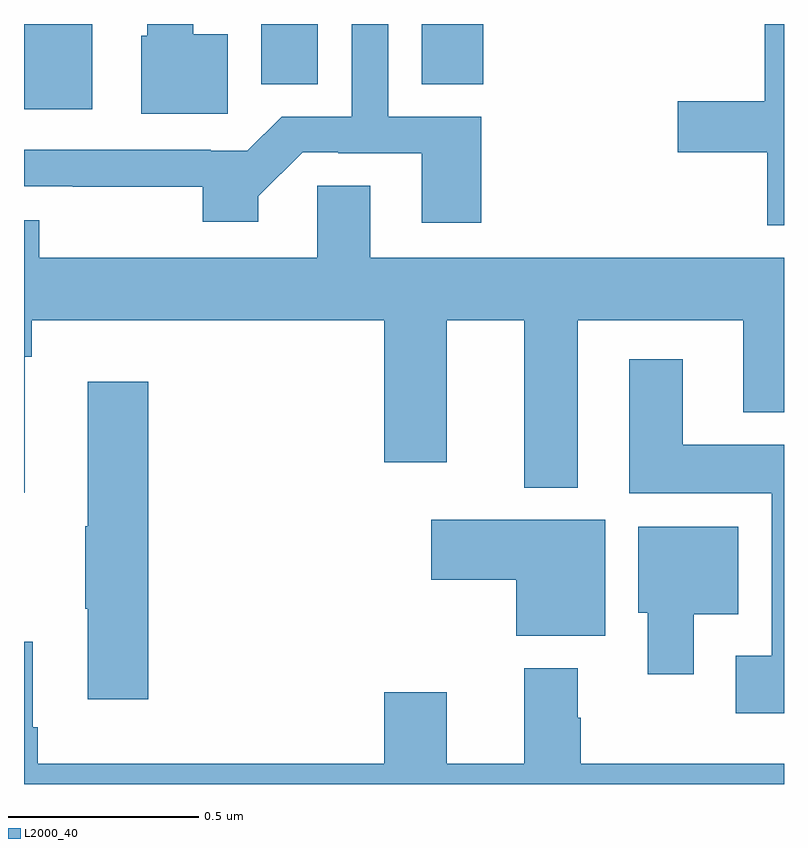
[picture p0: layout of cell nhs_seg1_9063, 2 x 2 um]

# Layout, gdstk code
import gdstk
lib = gdstk.Library(unit=1e-6, precision=1e-09)
def R(c, l, rs):  # rectangles x0, y0, x1, y1
    for r in rs: c.add(gdstk.rectangle(r[:2], r[2:], *l))
def P(c, l, *ps):  # polygons
    for p in ps: c.add(gdstk.Polygon(p, *l))
L2000_40 = (2000, 40)

nhs_seg1_9063 = lib.new_cell('nhs_seg1_9063')
R(nhs_seg1_9063, L2000_40, [(224,530.975,224.179,531.199), (224.624,531.04,224.773,531.199), (225.047,531.04,225.208,531.199)])
P(nhs_seg1_9063, L2000_40, [(226,531.199),(225.949,531.199),(225.949,530.996),(225.72,530.996),(225.72,530.861),(225.956,530.861),(225.956,530.669),(226,530.669)],
  [(225.203,530.955),(224.958,530.955),(224.958,531.199),(224.862,531.199),(224.862,530.955),(224.678,530.955),(224.588,530.865),(224.492,530.865),(224.492,530.868),(224,530.868),(224,530.772),(224.128,530.772),(224.128,530.771),(224.47,530.771),(224.47,530.678),(224.617,530.678),(224.617,530.746),(224.733,530.862),(224.827,530.862),(224.827,530.859),(225.047,530.859),(225.047,530.676),(225.203,530.676)],
  [(224.536,531.172),(224.446,531.172),(224.446,531.199),(224.324,531.199),(224.324,531.168),(224.309,531.168),(224.309,530.963),(224.536,530.963)],
  [(224.911,530.774),(224.772,530.774),(224.772,530.584),(224.04,530.584),(224.04,530.683),(224,530.683),(224,529.965),(224.002,529.965),(224.002,530.324),(224.021,530.324),(224.021,530.42),(224.948,530.42),(224.948,530.046),(225.112,530.046),(225.112,530.42),(225.317,530.42),(225.317,529.979),(225.457,529.979),(225.457,530.42),(225.893,530.42),(225.893,530.177),(226,530.177),(226,530.584),(224.911,530.584)],
  [(226,530.092),(225.733,530.092),(225.733,530.317),(225.593,530.317),(225.593,529.964),(225.968,529.964),(225.968,529.537),(225.873,529.537),(225.873,529.385),(226,529.385)],
  [(224.327,530.257),(224.168,530.257),(224.168,529.877),(224.161,529.877),(224.161,529.66),(224.168,529.66),(224.168,529.422),(224.327,529.422)],
  [(225.529,529.894),(225.072,529.894),(225.072,529.736),(225.296,529.736),(225.296,529.589),(225.529,529.589)],
  [(225.763,529.646),(225.88,529.646),(225.88,529.876),(225.617,529.876),(225.617,529.65),(225.641,529.65),(225.641,529.488),(225.763,529.488)],
  [(226,529.252),(225.465,529.252),(225.465,529.373),(225.457,529.373),(225.457,529.504),(225.317,529.504),(225.317,529.252),(225.112,529.252),(225.112,529.441),(224.948,529.441),(224.948,529.252),(224.036,529.252),(224.036,529.348),(224.023,529.348),(224.023,529.573),(224,529.573),(224,529.199),(226,529.199)])

lib.write_gds('nhs_seg1_9063.gds')
